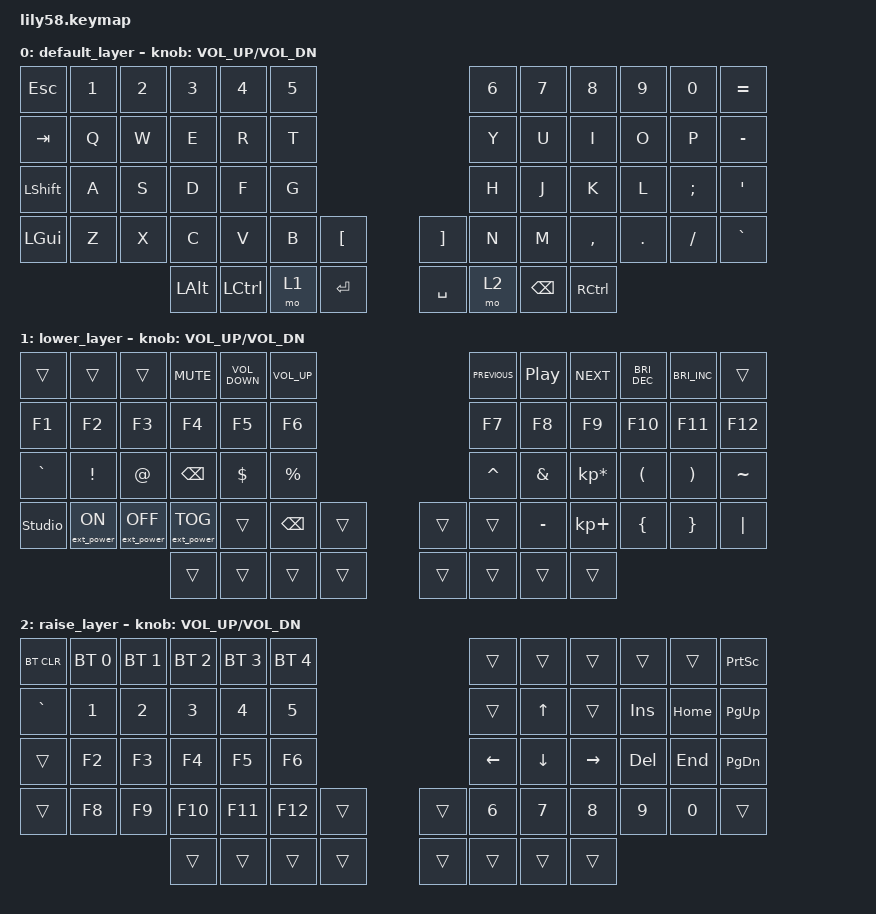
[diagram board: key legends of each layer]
/*
 * Copyright (c) 2020 The ZMK Contributors
 *
 * SPDX-License-Identifier: MIT
 */

#include <behaviors.dtsi>
#include <dt-bindings/zmk/keys.h>
#include <dt-bindings/zmk/bt.h>
#include <dt-bindings/zmk/ext_power.h>

/ {
	keymap {
		compatible = "zmk,keymap";

		default_layer {
// ------------------------------------------------------------------------------------------------------------
// |  ESC  |  1  |  2  |  3   |  4   |  5   |                   |  6   |  7    |  8    |  9   |   0   |   =   |
// |  TAB  |  Q  |  W  |  E   |  R   |  T   |                   |  Y   |  U    |  I    |  O   |   P   |   -   |
// |  SHIFT |  A  |  S  |  D   |  F   |  G   |                   |  H   |  J    |  K    |  L   |   ;   |   '   |
// | LGUI |  Z  |  X  |  C   |  V   |  B   |   "["  |  |  "]"  |  N   |  M    |  ,    |  .   |   /   | ` |
//                     | ALT  | LCTRL  | LOWER|  ENTER |  | SPACE | RAISE| BSPC  | RCTRL   |
			bindings = <
&kp ESC   &kp N1 &kp N2 &kp N3   &kp N4   &kp N5                     &kp N6 &kp N7   &kp N8    &kp N9  &kp N0   &kp EQUAL
&kp TAB   &kp Q  &kp W  &kp E    &kp R    &kp T                      &kp Y  &kp U    &kp I     &kp O   &kp P    &kp MINUS
&kp LSHFT &kp A  &kp S  &kp D    &kp F    &kp G                      &kp H  &kp J    &kp K     &kp L   &kp SEMI &kp SQT
&kp LGUI &kp Z  &kp X  &kp C    &kp V    &kp B  &kp LBKT   &kp RBKT &kp N  &kp M    &kp COMMA &kp DOT &kp FSLH &kp GRAVE
                        &kp LALT &kp LCTRL &mo 1  &kp RET  &kp SPACE  &mo 2  &kp BSPC &kp RCTRL
			>;

			sensor-bindings = <&inc_dec_kp C_VOL_UP C_VOL_DN>;
		};

		lower_layer {
// ------------------------------------------------------------------------------------------------------------
// |  |  |   |  C_MUTE |  C_VOLUME_DOWN |  C_VOLUME_UP |                   |    C_PREVIOUS  |    C_PLAY_PAUSE   |    C_NEXT   |   C_BRIGHTNESS_DEC   |    C_BRIGHTNESS_INC   |       |
// |  F1   |  F2 |  F3 |  F4  |  F5  |  F6  |                   |  F7  |  F8   |  F9   |  F10 |  F11  |  F12  |
// |   `   |  !  |  @  |  BSPC   |  $   |  %   |                   |  ^   |  &    |  *    |  (   |   )   |   ~   |
// |       |     |     |      |      |      |   BSPC |  |       |      |  _    |  +    |  {   |   }   |  "|"  |
//                     |      |      |      |        |  |       |      |       |       |
			bindings = <
&trans &trans     &trans      &kp C_MUTE      &kp C_VOLUME_DOWN &kp C_VOLUME_UP                 &kp C_PREVIOUS    &kp C_PLAY_PAUSE    &kp C_NEXT          &kp C_BRIGHTNESS_DEC    &kp C_BRIGHTNESS_INC    &trans
&kp F1     &kp F2           &kp F3            &kp F4            &kp F5       &kp F6                       &kp F7    &kp F8    &kp F9          &kp F10   &kp F11   &kp F12
&kp GRAVE  &kp EXCL         &kp AT            &kp BSPC          &kp DOLLAR   &kp PRCNT                    &kp CARET &kp AMPS  &kp KP_MULTIPLY &kp LPAR  &kp RPAR  &kp TILDE
&studio_unlock     &ext_power EP_ON &ext_power EP_OFF &ext_power EP_TOG &trans       &kp BSPC    &trans   &trans    &trans    &kp MINUS &kp KP_PLUS     &kp LBRC  &kp RBRC  &kp PIPE
                                              &trans            &trans       &trans    &trans   &trans    &trans    &trans    &trans
			>;

			sensor-bindings = <&inc_dec_kp C_VOL_UP C_VOL_DN>;
		};

		raise_layer {
// ------------------------------------------------------------------------------------------------------------
// | BTCLR | BT1 | BT2 |  BT3 |  BT4 |  BT5 |                   |      |       |       |      |       | PSCRN |
// |   `   |  1  |  2  |  3   |  4   |  5   |                   |  6   |   7   |       | INSERT| HOME | PG_UP |
// |       |  F2 |  F3 |  F4  |  F5  |  F6  |                   |      |  ^    |       |  DEL  |  END | PG_DN |
// |       |  F8 |  F9 |  F10 |  F11 |  F12 |        |  |       |  <-  |  v    |   ->  |  [    |   ]  |   \   |
//                     |      |      |      |        |  |       |      |       |       |
			bindings = <
&bt BT_CLR &bt BT_SEL 0     &bt BT_SEL 1      &bt BT_SEL 2      &bt BT_SEL 3 &bt BT_SEL 4                       &trans      &trans    &trans    &trans   &trans    &kp PSCRN
&kp GRAVE &kp N1 &kp N2 &kp N3  &kp N4  &kp N5                       &trans      &kp UP    &trans    &kp INSERT   &kp HOME    &kp PG_UP
&trans    &kp F2 &kp F3 &kp F4  &kp F5  &kp F6                       &kp LEFT    &kp DOWN  &kp RIGHT &kp DEL      &kp END     &kp PG_DN
&trans    &kp F8 &kp F9 &kp F10 &kp F11 &kp F12   &trans   &trans    &kp N6 &kp N7 &kp N8 &kp N9 &kp N0 &trans
                        &trans  &trans  &trans    &trans   &trans    &trans      &trans    &trans
			>;

			sensor-bindings = <&inc_dec_kp C_VOL_UP C_VOL_DN>;
		};
	};
};
